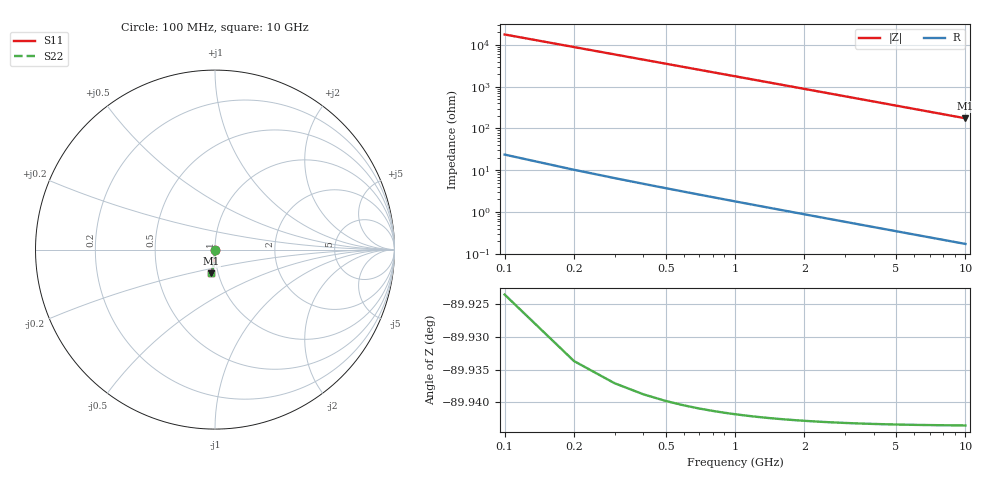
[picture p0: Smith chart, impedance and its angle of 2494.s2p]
# Hz S RI R 50.00
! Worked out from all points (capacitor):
!   100 points, 100 MHz to 10 GHz, reference 50 ohm
!   read as one part in shunt: C = 89.6 fF near 100 MHz
!   lowest |Z| = 175 ohm at 10 GHz (marker M1)
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1e8  1.24e-05 -0.00133  1 -0.00148  1 -0.00148  1.24e-05 -0.00133
2e8  5.2e-06 -0.00267  1 -0.00296  1 -0.00296  5.2e-06 -0.00267
3e8  -5.97e-06 -0.004  1 -0.00445  1 -0.00445  -5.97e-06 -0.004
4e8  -2.11e-05 -0.00533  0.9999 -0.00593  0.9999 -0.00593  -2.11e-05 -0.00533
5e8  -4.02e-05 -0.00667  0.9999 -0.00741  0.9999 -0.00741  -4.02e-05 -0.00667
6e8  -6.33e-05 -0.008  0.9999 -0.00889  0.9999 -0.00889  -6.33e-05 -0.008
7e8  -9.03e-05 -0.00933  0.9999 -0.0104  0.9999 -0.0104  -9.03e-05 -0.00933
8e8  -0.000121 -0.0107  0.9998 -0.0119  0.9998 -0.0119  -0.000121 -0.0107
9e8  -0.000156 -0.012  0.9998 -0.0133  0.9998 -0.0133  -0.000156 -0.012
1.1e9  -0.000238 -0.0147  0.9997 -0.0163  0.9997 -0.0163  -0.000238 -0.0147
1.4e9  -0.000391 -0.0187  0.9996 -0.0208  0.9996 -0.0208  -0.000391 -0.0187
1.8e9  -0.00065 -0.024  0.9993 -0.0267  0.9993 -0.0267  -0.00065 -0.024
2.1e9  -0.000886 -0.028  0.9991 -0.0312  0.9991 -0.0312  -0.000886 -0.028
2.5e9  -0.00126 -0.0334  0.9987 -0.0371  0.9987 -0.0371  -0.00126 -0.0334
2.9e9  -0.00169 -0.0387  0.9983 -0.0431  0.9983 -0.0431  -0.00169 -0.0387
3.4e9  -0.00233 -0.0454  0.9976 -0.0505  0.9976 -0.0505  -0.00233 -0.0454
4.2e9  -0.00355 -0.0561  0.9964 -0.0624  0.9964 -0.0624  -0.00355 -0.0561
5.1e9  -0.00524 -0.0681  0.9947 -0.0758  0.9947 -0.0758  -0.00524 -0.0681
5.9e9  -0.00701 -0.0787  0.9929 -0.0876  0.9929 -0.0876  -0.00701 -0.0787
6.7e9  -0.00903 -0.0893  0.9909 -0.0994  0.9909 -0.0994  -0.00903 -0.0893
8.4e9  -0.0142 -0.1116  0.9857 -0.1244  0.9857 -0.1244  -0.0142 -0.1116
1e10  -0.02 -0.1322  0.9798 -0.1475  0.9798 -0.1475  -0.02 -0.1322
